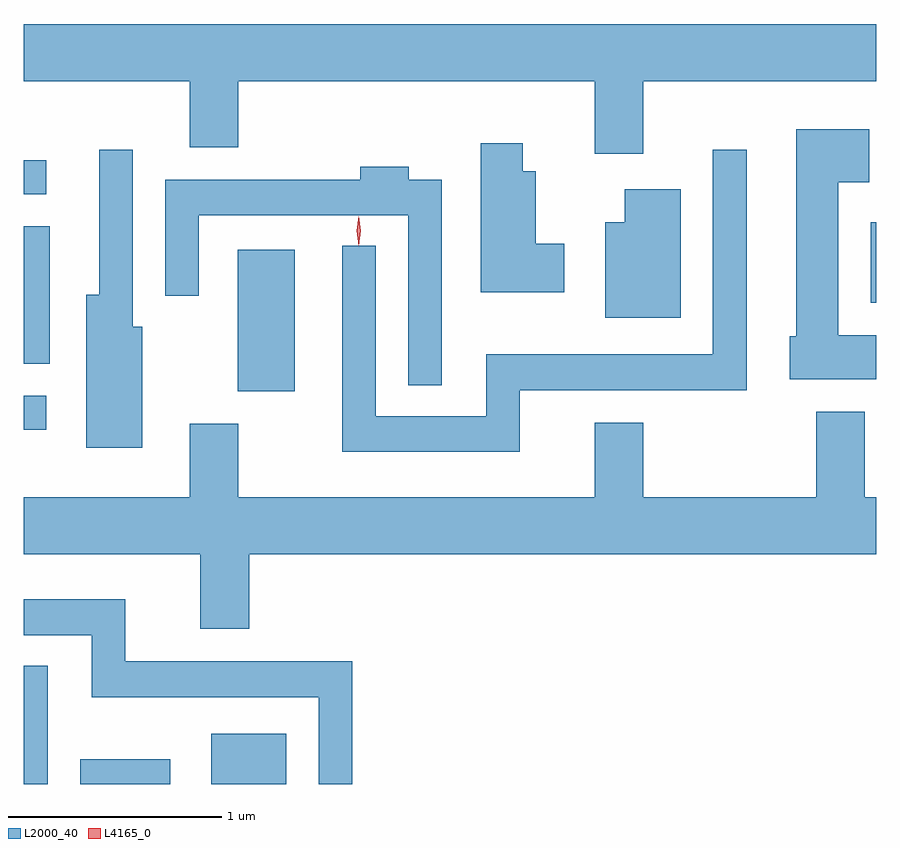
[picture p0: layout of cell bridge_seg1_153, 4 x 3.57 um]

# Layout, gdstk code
import gdstk
lib = gdstk.Library(unit=1e-6, precision=1e-09)
def R(c, l, rs):  # rectangles x0, y0, x1, y1
    for r in rs: c.add(gdstk.rectangle(r[:2], r[2:], *l))
def P(c, l, *ps):  # polygons
    for p in ps: c.add(gdstk.Polygon(p, *l))
L2000_40 = (2000, 40)
L4165_0 = (4165, 0)

bridge_seg1_153 = lib.new_cell('bridge_seg1_153')
R(bridge_seg1_153, L2000_40, [(856.582,909.598,856.694,910.153), (856.846,909.598,857.269,909.714), (857.461,909.598,857.814,909.834), (856.582,911.261,856.688,911.419), (857.586,911.441,857.854,912.104), (856.582,911.571,856.704,912.214), (860.556,911.856,860.582,912.234), (856.582,912.366,856.688,912.524)])
P(bridge_seg1_153, L2000_40, [(859.489,912.896),(860.582,912.896),(860.582,913.164),(856.582,913.164),(856.582,912.896),(857.361,912.896),(857.361,912.586),(857.589,912.586),(857.589,912.896),(859.261,912.896),(859.261,912.556),(859.489,912.556)],
  [(860.582,911.704),(860.404,911.704),(860.404,912.421),(860.549,912.421),(860.549,912.669),(860.206,912.669),(860.206,911.699),(860.176,911.699),(860.176,911.496),(860.582,911.496)],
  [(859.119,912.134),(858.984,912.134),(858.984,912.474),(858.924,912.474),(858.924,912.604),(858.726,912.604),(858.726,911.906),(859.119,911.906)],
  [(857.139,911.744),(857.094,911.744),(857.094,912.573),(856.936,912.573),(856.936,911.894),(856.876,911.894),(856.876,911.176),(857.139,911.176)],
  [(858.909,911.446),(859.974,911.446),(859.974,912.573),(859.816,912.573),(859.816,911.614),(858.751,911.614),(858.751,911.324),(858.234,911.324),(858.234,912.123),(858.076,912.123),(858.076,911.156),(858.909,911.156)],
  [(858.544,912.434),(858.389,912.434),(858.389,912.494),(858.161,912.494),(858.161,912.434),(857.246,912.434),(857.246,911.888),(857.404,911.888),(857.404,912.266),(858.386,912.266),(858.386,911.468),(858.544,911.468)],
  [(859.664,912.389),(859.401,912.389),(859.401,912.234),(859.311,912.234),(859.311,911.786),(859.664,911.786)],
  [(857.639,910.676),(860.582,910.676),(860.582,910.944),(860.529,910.944),(860.529,911.344),(860.301,911.344),(860.301,910.944),(859.489,910.944),(859.489,911.294),(859.261,911.294),(859.261,910.944),(857.589,910.944),(857.589,911.289),(857.361,911.289),(857.361,910.944),(856.582,910.944),(856.582,910.676),(857.411,910.676),(857.411,910.326),(857.639,910.326)],
  [(858.124,910.174),(857.059,910.174),(857.059,910.464),(856.582,910.464),(856.582,910.296),(856.901,910.296),(856.901,910.006),(857.966,910.006),(857.966,909.598),(858.124,909.598)])
P(bridge_seg1_153, L4165_0, [(858.153,912.124),(858.144,912.193),(858.153,912.262),(858.154,912.263),(858.154,912.262),(858.164,912.193),(858.154,912.124),(858.154,912.124)],
  [(858.154,912.127),(858.153,912.128),(858.144,912.194),(858.153,912.26),(858.154,912.26),(858.154,912.26),(858.164,912.194),(858.154,912.128)])

lib.write_gds('bridge_seg1_153.gds')
